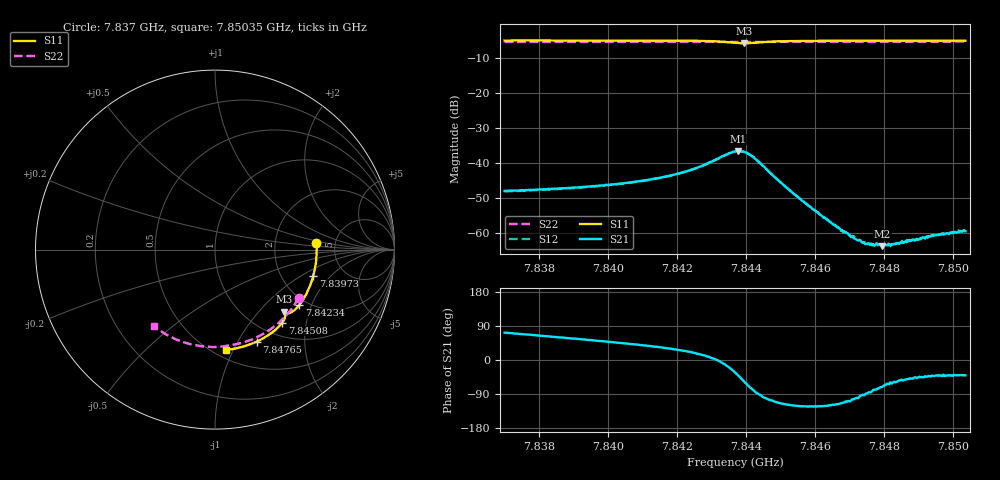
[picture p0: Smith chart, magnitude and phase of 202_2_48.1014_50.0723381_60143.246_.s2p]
#  HZ  S  RI  R  50.00
! Rohde & Schwarz Vector Network Analyzer
! Rohde-Schwarz,ZNB20-2Port,1311601062101988,3.16
! Created: UTC 12/23/2023, 3:54:51 AM
! freq[Hz]  re:S11  im:S11  re:S21  im:S21  re:S12  im:S12  re:S22  im:S22
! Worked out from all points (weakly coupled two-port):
!   401 points, 7.837 GHz to 7.85035 GHz, reference 50 ohm
!   highest |S21| = -36.61 dB at 7.84377 GHz (marker M1); lowest = -63.9 dB at 7.84795 GHz (marker M2)
!   lowest |S11| = -5.7 dB at 7.84394 GHz (marker M3), VSWR 3.13, Z = 73.2 - j69.1 ohm
!   |S11| at or under -10 dB: nowhere
!   |S22| runs from -5.4 to -5.3 dB; largest |S21 - S12| = 0.00032
!   S11 on the Smith chart (normalised r, x): 7.837 GHz: 3.57, +0.38; 7.83973 GHz: 3.01, -1.29; 7.84234 GHz: 1.82, -1.64; 7.84508 GHz: 1.25, -1.46; 7.84765 GHz: 0.80, -1.20; 7.85035 GHz: 0.57, -0.93
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7.836998e9  0.565 0.0361  0.00121 0.00375  0.00123 0.00373  0.4673 -0.2698
7.839234e9  0.5557 -0.1121  0.00259 0.00365  0.00257 0.00362  0.3708 -0.3929
7.839735e9  0.548 -0.1449  0.00299 0.00363  0.00296 0.0036  0.3448 -0.4163
7.840636e9  0.5289 -0.203  0.00388 0.00351  0.0038 0.00351  0.2941 -0.4542
7.841471e9  0.5049 -0.2552  0.00502 0.00339  0.00498 0.00342  0.2434 -0.4834
7.842338e9  0.4708 -0.3076  0.00718 0.00289  0.00716 0.00289  0.1874 -0.5077
7.843173e9  0.4222 -0.3504  0.0113 -0.00019  0.0114 -0.000269  0.131 -0.5244
7.843673e9  0.387 -0.3536  0.0123 -0.00792  0.0122 -0.00782  0.0975 -0.5303
7.843774e9  0.3833 -0.3503  0.0111 -0.00974  0.0111 -0.00965  0.0911 -0.5312
7.84394e9  0.3826 -0.3461  0.00771 -0.0121  0.00781 -0.0121  0.0807 -0.5329
7.844241e9  0.3904 -0.3521  0.00155 -0.0115  0.00161 -0.0115  0.0612 -0.5365
7.845075e9  0.3745 -0.4068  -0.00207 -0.00435  -0.00211 -0.00436  0.00316 -0.5427
7.84591e9  0.333 -0.45  -0.00116 -0.00184  -0.00119 -0.0019  -0.0556 -0.5408
7.846811e9  0.2823 -0.4864  -0.000399 -0.000966  -0.000378 -0.000924  -0.1185 -0.5311
7.847178e9  0.2606 -0.4987  -0.000145 -0.000785  -0.000174 -0.000815  -0.1434 -0.5253
7.847312e9  0.2525 -0.5028  -5.48e-05 -0.000766  -0.000106 -0.000761  -0.1525 -0.5227
7.847445e9  0.2443 -0.507  6.48e-07 -0.000684  -6.76e-06 -0.000733  -0.1615 -0.5201
7.847645e9  0.2322 -0.5127  8.81e-05 -0.000682  6.4e-05 -0.000653  -0.1749 -0.5157
7.847946e9  0.2136 -0.5209  0.00021 -0.000603  0.000206 -0.000624  -0.1948 -0.5089
7.848146e9  0.2013 -0.5258  0.000301 -0.000606  0.000277 -0.000611  -0.208 -0.5038
7.849414e9  0.1202 -0.5499  0.000662 -0.000597  0.00069 -0.000624  -0.2872 -0.4639
7.850349e9  0.0587 -0.5592  0.00079 -0.000681  0.000828 -0.000686  -0.3412 -0.4266
